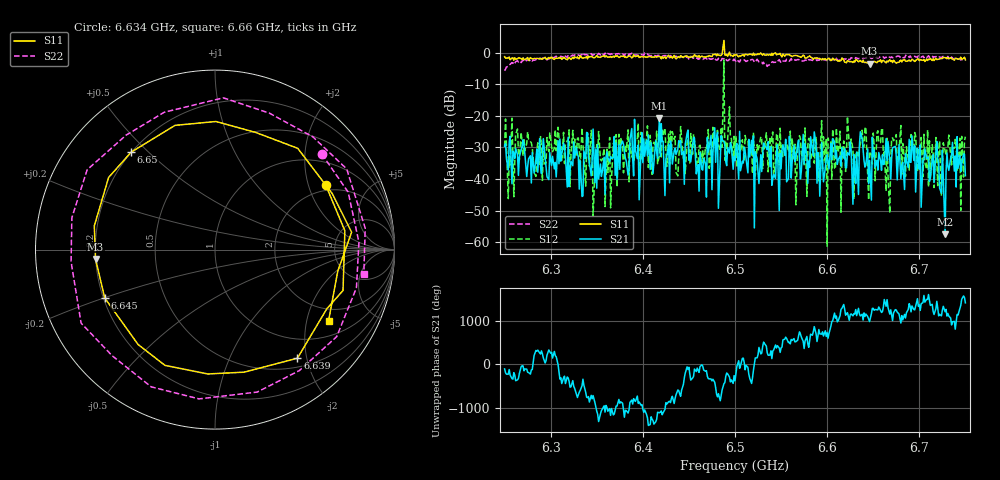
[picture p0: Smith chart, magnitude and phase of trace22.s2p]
# Hz S RI R 50
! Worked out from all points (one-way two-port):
!   401 points, 6.25 GHz to 6.75 GHz, reference 50 ohm
!   highest |S21| = -20.78 dB at 6.418 GHz (marker M1); lowest = -57.5 dB at 6.728 GHz (marker M2)
!   lowest |S11| = -3.5 dB at 6.646 GHz (marker M3), VSWR 5.02, Z = 9.98 - j1.88 ohm
!   |S11| at or under -10 dB: nowhere
!   |S22| runs from -5.8 to -0.1 dB; largest |S21 - S12| = 0.74
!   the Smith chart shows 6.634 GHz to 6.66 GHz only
!   S11 on the Smith chart (normalised r, x): 6.634 GHz: 1.76, +2.60; 6.639 GHz: 0.64, -1.84; 6.645 GHz: 0.21, -0.20; 6.65 GHz: 0.20, +0.44; 6.66 GHz: 1.50, -2.71
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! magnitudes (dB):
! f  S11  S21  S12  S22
! 6.25 GHz  -1.3  -29.6  -29.6  -5.8
! 6.334 GHz  -1.7  -45.5  -23.8  -0.6
! 6.339 GHz  -1.2  -25.3  -30.8  -0.6
! 6.356 GHz  -1.2  -37.8  -33.9  -0.3
! 6.418 GHz  -1.2  -20.8  -32.4  -0.9
! 6.485 GHz  -0.9  -26.3  -23.7  -2.5
! 6.5 GHz  -0.9  -34.2  -33.5  -2.5
! 6.518 GHz  -0.6  -27.8  -29.2  -2.2
! 6.524 GHz  -0.7  -33.6  -29.2  -2.1
! 6.534 GHz  -0.8  -30.0  -25.4  -3.7
! 6.542 GHz  -0.4  -38.6  -38.9  -3.1
! 6.584 GHz  -1.8  -30.8  -31.8  -2.5
! 6.634 GHz  -2.9  -44.9  -33.1  -2.0
! 6.639 GHz  -2.4  -30.7  -29.9  -1.6
! 6.645 GHz  -3.5  -41.5  -46.6  -1.7
! 6.646 GHz  -3.5  -34.1  -31.3  -1.4
! 6.65 GHz  -2.9  -32.9  -25.5  -1.5
! 6.66 GHz  -2.5  -32.3  -24.0  -1.5
! 6.668 GHz  -2.2  -34.2  -50.8  -1.4
! 6.672 GHz  -2.4  -29.9  -27.9  -1.5
! 6.728 GHz  -1.6  -57.5  -31.0  -1.6
! 6.75 GHz  -2.3  -39.0  -26.6  -2.2
